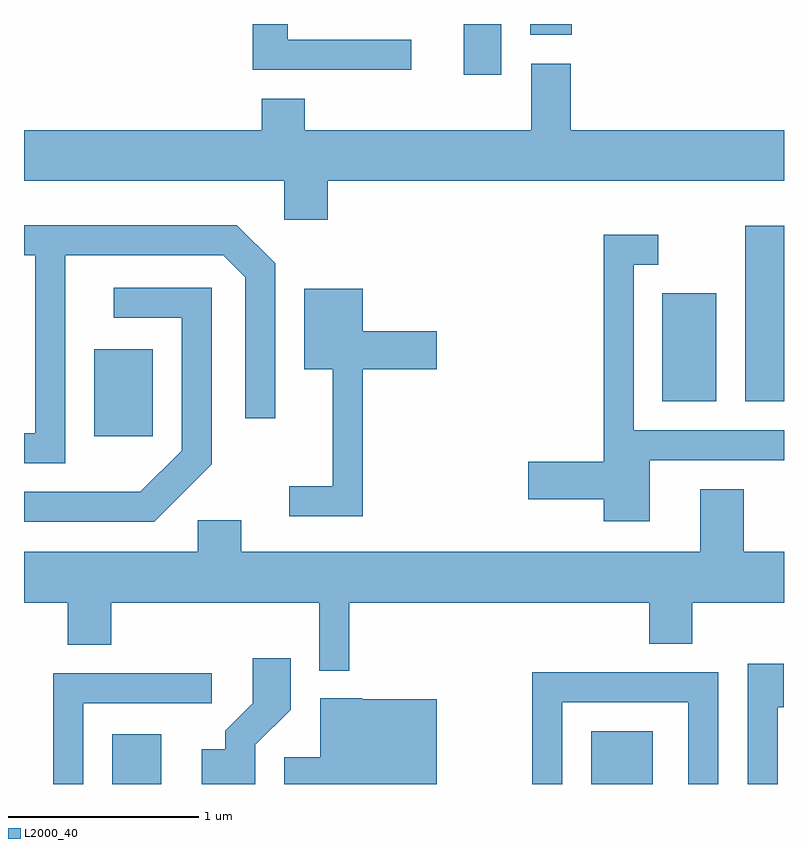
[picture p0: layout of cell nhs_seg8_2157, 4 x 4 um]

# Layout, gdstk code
import gdstk
lib = gdstk.Library(unit=1e-6, precision=1e-09)
def R(c, l, rs):  # rectangles x0, y0, x1, y1
    for r in rs: c.add(gdstk.rectangle(r[:2], r[2:], *l))
def P(c, l, *ps):  # polygons
    for p in ps: c.add(gdstk.Polygon(p, *l))
L2000_40 = (2000, 40)

nhs_seg8_2157 = lib.new_cell('nhs_seg8_2157')
R(nhs_seg8_2157, L2000_40, [(250.076,1844.342,250.334,1844.604), (252.596,1844.342,252.919,1844.619), (249.981,1846.171,250.289,1846.629), (252.971,1846.356,253.254,1846.924), (253.406,1846.356,253.611,1847.279), (251.926,1848.076,252.124,1848.342), (252.276,1848.286,252.494,1848.342)])
P(nhs_seg8_2157, L2000_40, [(251.648,1848.259),(250.999,1848.259),(250.999,1848.342),(250.816,1848.342),(250.816,1848.101),(251.648,1848.101)],
  [(251.209,1847.516),(253.611,1847.516),(253.611,1847.784),(252.489,1847.784),(252.489,1848.134),(252.281,1848.134),(252.281,1847.784),(251.089,1847.784),(251.089,1847.949),(250.861,1847.949),(250.861,1847.784),(249.611,1847.784),(249.611,1847.516),(250.981,1847.516),(250.981,1847.311),(251.209,1847.311)],
  [(249.829,1847.126),(250.659,1847.126),(250.776,1847.009),(250.776,1846.268),(250.934,1846.268),(250.934,1847.082),(250.732,1847.284),(249.611,1847.284),(249.611,1847.126),(249.671,1847.126),(249.671,1846.189),(249.611,1846.189),(249.611,1846.031),(249.829,1846.031)],
  [(252.904,1846.046),(253.611,1846.046),(253.611,1846.204),(252.819,1846.204),(252.819,1847.076),(252.948,1847.076),(252.948,1847.234),(252.661,1847.234),(252.661,1846.039),(252.266,1846.039),(252.266,1845.841),(252.661,1845.841),(252.661,1845.726),(252.904,1845.726)],
  [(250.599,1846.024),(250.599,1846.954),(250.083,1846.954),(250.083,1846.796),(250.441,1846.796),(250.441,1846.097),(250.224,1845.879),(249.611,1845.879),(249.611,1845.721),(250.297,1845.721)],
  [(251.394,1846.526),(251.784,1846.526),(251.784,1846.724),(251.394,1846.724),(251.394,1846.949),(251.086,1846.949),(251.086,1846.526),(251.236,1846.526),(251.236,1845.909),(251.008,1845.909),(251.008,1845.751),(251.394,1845.751)],
  [(251.324,1845.296),(252.901,1845.296),(252.901,1845.081),(253.129,1845.081),(253.129,1845.296),(253.611,1845.296),(253.611,1845.564),(253.399,1845.564),(253.399,1845.894),(253.171,1845.894),(253.171,1845.564),(250.754,1845.564),(250.754,1845.729),(250.526,1845.729),(250.526,1845.564),(249.611,1845.564),(249.611,1845.296),(249.841,1845.296),(249.841,1845.076),(250.069,1845.076),(250.069,1845.296),(251.166,1845.296),(251.166,1844.938),(251.324,1844.938)],
  [(250.829,1844.549),(251.014,1844.734),(251.014,1845.004),(250.816,1845.004),(250.816,1844.767),(250.671,1844.622),(250.671,1844.524),(250.546,1844.524),(250.546,1844.342),(250.829,1844.342)],
  [(253.579,1844.746),(253.609,1844.746),(253.609,1844.974),(253.421,1844.974),(253.421,1844.342),(253.579,1844.342)],
  [(252.444,1844.771),(253.106,1844.771),(253.106,1844.342),(253.264,1844.342),(253.264,1844.929),(252.286,1844.929),(252.286,1844.342),(252.444,1844.342)],
  [(249.924,1844.766),(250.598,1844.766),(250.598,1844.924),(249.766,1844.924),(249.766,1844.342),(249.924,1844.342)],
  [(251.784,1844.789),(251.39,1844.789),(251.39,1844.794),(251.171,1844.794),(251.171,1844.484),(250.981,1844.484),(250.981,1844.342),(251.784,1844.342)])

lib.write_gds('nhs_seg8_2157.gds')
